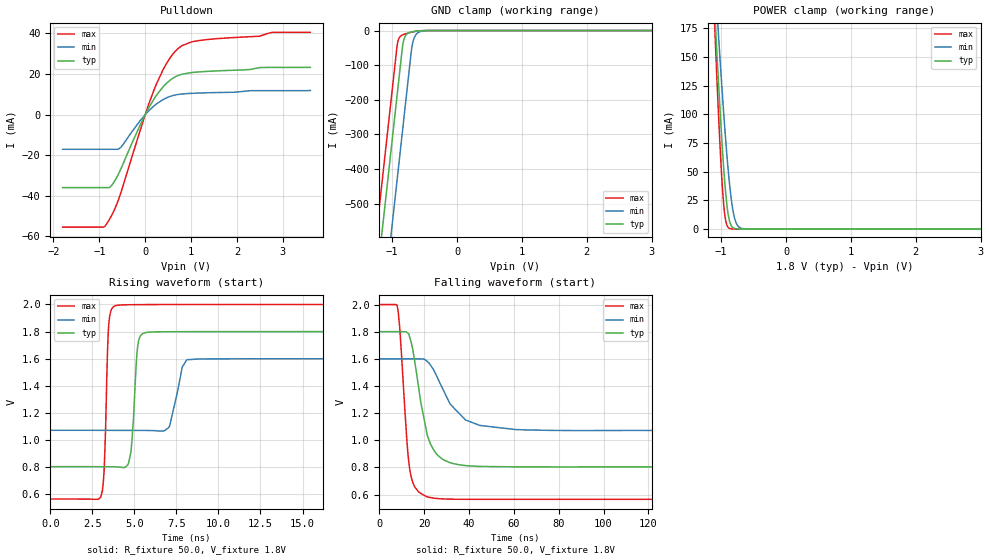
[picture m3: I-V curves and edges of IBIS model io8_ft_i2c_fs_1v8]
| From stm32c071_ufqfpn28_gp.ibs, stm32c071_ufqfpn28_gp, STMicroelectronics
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[Model]   io8_ft_i2c_fs_1v8
Model_type I/O_open_drain
Polarity   Non-Inverting
Enable   Active-Low
| CAP_THRESHOLD on pad IOFT is "UDTCAPC" :
| Rising=30.0% of vddiom   Falling=70.0% of vddiom
| C_comp min and max val. don't necessarily correlate with the min and max pvt
| but are the smallest and greatest pad capacitance found.
| var   typ   min   max
C_comp   2.19911pF  2.17856pF  2.24970pF
|C_comp_pulldown   2.19911pF  2.17856pF  2.24970pF
Vinl = 800.0mV
Vinh = 1.0V
Vmeas = 900.0mV   | Reference voltage for timing measurements
Cref  = 50.0pF   | Timing specification test load capacitance value
Rref  = 1.0MOhm   | Timing specification test load resistance value
Vref  = 990.0mV   | Timing specification test load voltage
[Model Spec]
| TIME_THRESHOLD on pin ZII2CV12 is "CMOS" :
| Rising=50.0% of vdd   Falling=50.0% of vdd
Vinl 728.70000mV 652.70000mV 817.70000mV
Vinh 1.06430V 953.30000mV 1.16330V
| variable   typ   min   max
[Temperature Range] 25.0 125.0 -40.0
| variable   typ   min   max
[Voltage Range] 1.8V 1.6V 2.0V
| variable   typ   min   max
[POWER Clamp Reference] 1.8V 1.6V 2.0V
| variable   typ   min   max
[GND Clamp Reference] 0V 0V 0V
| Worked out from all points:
|   slope of the pulldown table from 0 to 0.27 V, typ, clamps not added: 26.4 ohm
|   GND clamp passes 1 mA (typ) near -0.58 V on its own axis
|   POWER clamp passes 1 mA (typ) near -0.81 V on its own axis
|   rising waveform, R_fixture 50.0, V_fixture 1.8V: 20-80 % time 274ps typ, 544ps min, 196ps max; typ from 0.804 V to 1.8 V
|   falling waveform, R_fixture 50.0, V_fixture 1.8V: 20-80 % time 6.54ns typ, 11.8ns min, 3.49ns max; typ from 1.8 V to 0.804 V
[POWER Clamp]
-1.8V     1.053A     933.5mA    1.262A
-1.1V     191.1mA    222.7mA    177.1mA
-1.08V    169mA      204.2mA    149.9mA
-1.05V    136.9mA    176.9mA    110.9mA
-1.01V    96.55mA    141.6mA    64.02mA
-980mV    68.91mA    116.4mA    35.23mA
-940mV    37.57mA    84.83mA    10.65mA
-880mV    8.969mA    44.34mA    807.4uA
-830mV    1.697mA    20.19mA    75.79uA
-790mV    394.2uA    8.787mA    11.25uA
-670mV    4.467uA    374.2uA    36.56nA
3.6V      0A         0A         0A
[GND Clamp]
-1.8V     -1.676A    -1.92A     -1.532A
-1.24V    -723.6mA   -967.7mA   -579.5mA
-1.05V    -400.6mA   -644.7mA   -256.5mA
-920mV    -179.6mA   -423.7mA   -38.92mA
-890mV    -128.6mA   -372.7mA   -20.43mA
-850mV    -60.6mA    -304.7mA   -13.42mA
-830mV    -34.09mA   -270.7mA   -11.74mA
-800mV    -16.49mA   -219.7mA   -9.781mA
-690mV    -3.754mA   -41.06mA   -4.242mA
-640mV    -2.187mA   -13.34mA   -2.404mA
-570mV    -808.6uA   -3.187mA   -757.3uA
3.6V      509.6pA    49.06nA    363.2pA
| variable   typ   min   max
[Pullup Reference] 1.8V 1.6V 2.0V
| variable   typ   min   max
[Pulldown Reference] 0V 0V 0V
[Pulldown]
-1.8V     -35.95mA   -17.07mA   -55.42mA
-910mV    -35.95mA   -17.07mA   -55.42mA
-830mV    -35.95mA   -17.07mA   -53.42mA
-720mV    -34.49mA   -17.07mA   -49.08mA
-540mV    -27.18mA   -16.22mA   -39.07mA
-120mV    -5.598mA   -3.255mA   -8.496mA
240mV     9.353mA    5.171mA    14.85mA
490mV     15.96mA    8.523mA    26.14mA
750mV     19.54mA    10.04mA    33.17mA
1.37V     21.33mA    10.77mA    37.03mA
2.78V     23.24mA    11.8mA     40.53mA
3.6V      23.24mA    11.89mA    40.54mA
[Ramp]
dV/dt_r 597.43695mV/271.39401ps 316.62128mV/543.66458ps 860.76616mV/186.43747ps
dV/dt_f 597.45853mV/6.54342ns 316.26814mV/11.83969ns 860.78133mV/3.48826ns
R_load = 50.0
| Removed startup time: 0s 0s 0s  .
| Removed end time: 29.7ns.
[Rising Waveform]
R_fixture   = 50.0
V_fixture   = 1.8V
V_fixture_min = 1.6V
V_fixture_max = 2.0V
0s        804.2mV    1.072V     565.4mV
3ns       803.5mV    1.072V     578.7mV
3.2ns     803.4mV    1.072V     769.6mV
3.45ns    803.3mV    1.072V     1.805V
3.85ns    802.8mV    1.072V     1.99V
4.65ns    827.7mV    1.072V     1.998V
5.2ns     1.694V     1.071V     1.999V
5.6ns     1.79V      1.071V     1.999V
8.15ns    1.799V     1.593V     2V
29.7ns    1.8V       1.6V       2V
| Removed startup time: 0s 0s 0s  .
| Removed end time: 199.775ns.
[Falling Waveform]
R_fixture   = 50.0
V_fixture   = 1.8V
V_fixture_min = 1.6V
V_fixture_max = 2.0V
0s        1.8V       1.6V       2V
7.925ns   1.8V       1.6V       1.995V
9.125ns   1.8V       1.6V       1.831V
12.18ns   1.797V     1.6V       1.032V
13.68ns   1.754V     1.6V       778.7mV
16ns      1.561V     1.6V       652.6mV
21.08ns   1.065V     1.586V     585.4mV
28.78ns   855.3mV    1.363V     568.1mV
44.83ns   807.4mV    1.11V      565.4mV
199.8ns   804.2mV    1.073V     565.4mV
